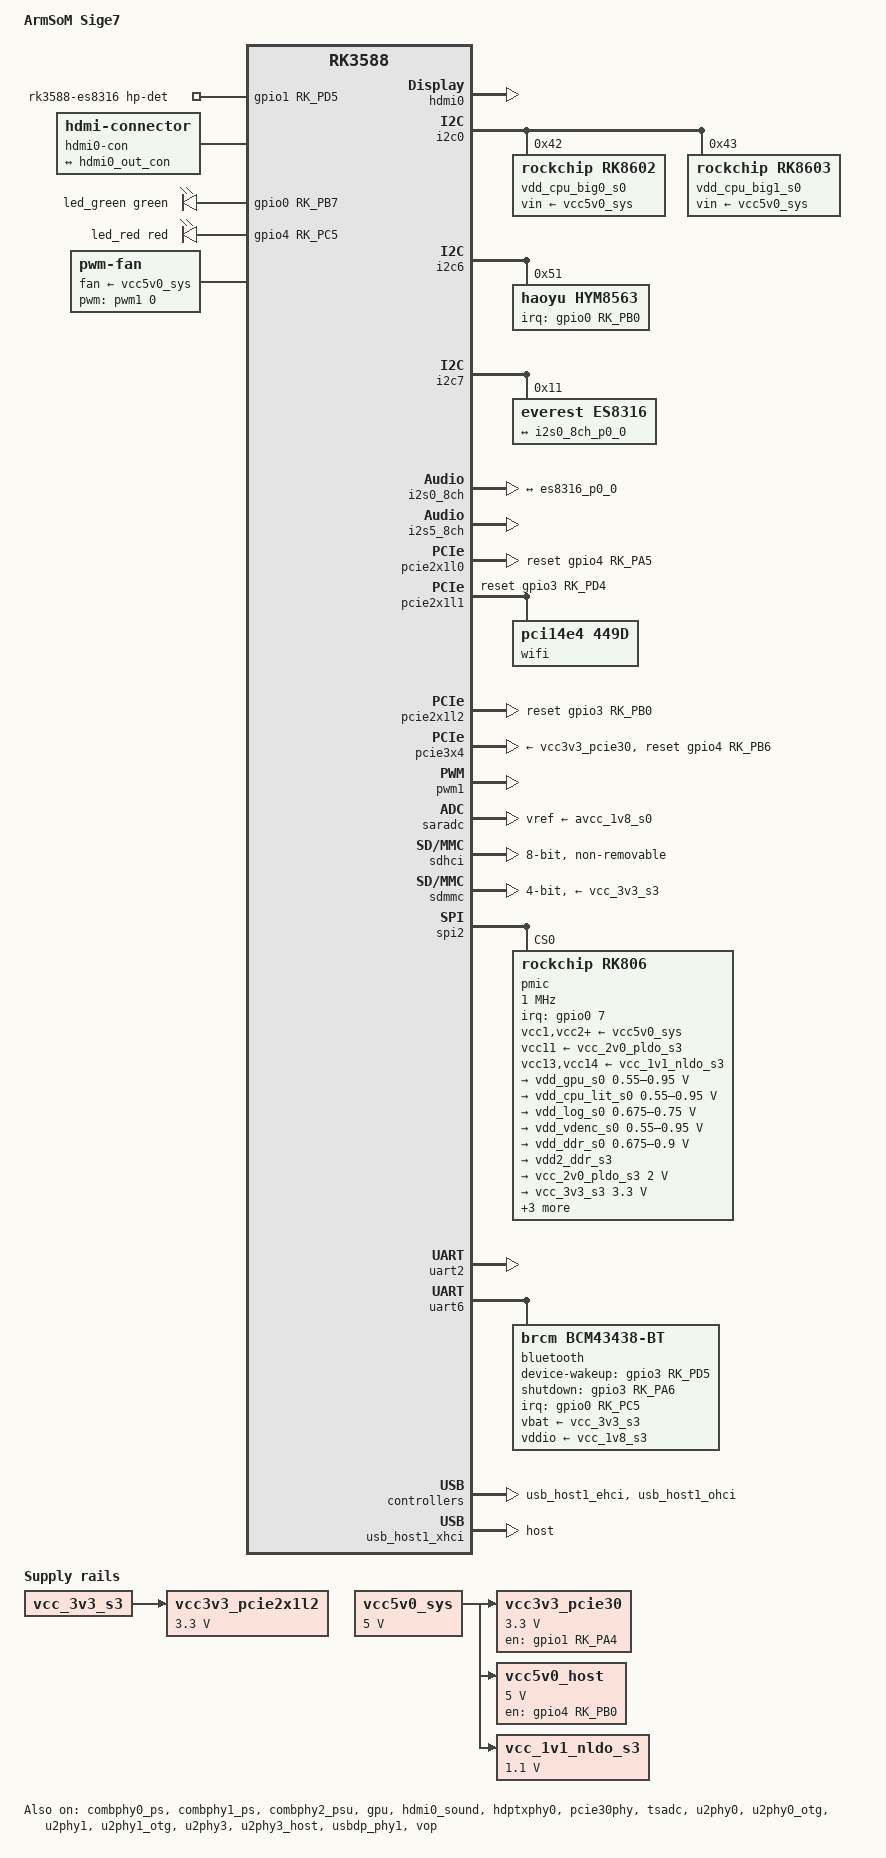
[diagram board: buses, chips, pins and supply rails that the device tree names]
// SPDX-License-Identifier: (GPL-2.0+ OR MIT)

/dts-v1/;

#include <dt-bindings/gpio/gpio.h>
#include <dt-bindings/leds/common.h>
#include <dt-bindings/soc/rockchip,vop2.h>
#include "rk3588.dtsi"

/ {
	model = "ArmSoM Sige7";
	compatible = "armsom,sige7", "rockchip,rk3588";

	aliases {
		mmc0 = &sdhci;
		mmc1 = &sdmmc;
	};

	chosen {
		stdout-path = "serial2:1500000n8";
	};

	analog-sound {
		compatible = "audio-graph-card";
		dais = <&i2s0_8ch_p0>;
		label = "rk3588-es8316";
		hp-det-gpios = <&gpio1 RK_PD5 GPIO_ACTIVE_HIGH>;
		pinctrl-names = "default";
		pinctrl-0 = <&hp_detect>;
		routing = "MIC2", "Mic Jack",
			  "Headphones", "HPOL",
			  "Headphones", "HPOR";
		widgets = "Microphone", "Mic Jack",
			  "Headphone", "Headphones";
	};

	hdmi0-con {
		compatible = "hdmi-connector";
		type = "a";

		port {
			hdmi0_con_in: endpoint {
				remote-endpoint = <&hdmi0_out_con>;
			};
		};
	};

	leds {
		compatible = "gpio-leds";
		pinctrl-names = "default";
		pinctrl-0 = <&led_rgb_g>;

		led_green: led-0 {
			color = <LED_COLOR_ID_GREEN>;
			function = LED_FUNCTION_STATUS;
			gpios = <&gpio0 RK_PB7 GPIO_ACTIVE_HIGH>;
			linux,default-trigger = "heartbeat";
		};

		led_red: led-1 {
			color = <LED_COLOR_ID_RED>;
			function = LED_FUNCTION_STATUS;
			gpios = <&gpio4 RK_PC5 GPIO_ACTIVE_HIGH>;
			linux,default-trigger = "none";
		};
	};

	fan: pwm-fan {
		compatible = "pwm-fan";
		cooling-levels = <0 95 145 195 255>;
		fan-supply = <&vcc5v0_sys>;
		pwms = <&pwm1 0 50000 0>;
		#cooling-cells = <2>;
	};

	vcc3v3_pcie2x1l2: regulator-vcc3v3-pcie2x1l2 {
		compatible = "regulator-fixed";
		regulator-name = "vcc3v3_pcie2x1l2";
		regulator-min-microvolt = <3300000>;
		regulator-max-microvolt = <3300000>;
		startup-delay-us = <5000>;
		vin-supply = <&vcc_3v3_s3>;
	};

	vcc3v3_pcie30: regulator-vcc3v3-pcie30 {
		compatible = "regulator-fixed";
		enable-active-high;
		gpios = <&gpio1 RK_PA4 GPIO_ACTIVE_HIGH>;
		regulator-name = "vcc3v3_pcie30";
		regulator-min-microvolt = <3300000>;
		regulator-max-microvolt = <3300000>;
		startup-delay-us = <5000>;
		vin-supply = <&vcc5v0_sys>;
	};

	vcc5v0_host: regulator-vcc5v0-host {
		compatible = "regulator-fixed";
		regulator-name = "vcc5v0_host";
		regulator-boot-on;
		regulator-always-on;
		regulator-min-microvolt = <5000000>;
		regulator-max-microvolt = <5000000>;
		enable-active-high;
		gpio = <&gpio4 RK_PB0 GPIO_ACTIVE_HIGH>;
		pinctrl-names = "default";
		pinctrl-0 = <&vcc5v0_host_en>;
		vin-supply = <&vcc5v0_sys>;
	};

	vcc5v0_sys: regulator-vcc5v0-sys {
		compatible = "regulator-fixed";
		regulator-name = "vcc5v0_sys";
		regulator-always-on;
		regulator-boot-on;
		regulator-min-microvolt = <5000000>;
		regulator-max-microvolt = <5000000>;
	};

	vcc_1v1_nldo_s3: regulator-vcc-1v1-nldo-s3 {
		compatible = "regulator-fixed";
		regulator-name = "vcc_1v1_nldo_s3";
		regulator-always-on;
		regulator-boot-on;
		regulator-min-microvolt = <1100000>;
		regulator-max-microvolt = <1100000>;
		vin-supply = <&vcc5v0_sys>;
	};
};

&combphy0_ps {
	status = "okay";
};

&combphy1_ps {
	status = "okay";
};

&combphy2_psu {
	status = "okay";
};

&cpu_b0 {
	cpu-supply = <&vdd_cpu_big0_s0>;
};

&cpu_b1 {
	cpu-supply = <&vdd_cpu_big0_s0>;
};

&cpu_b2 {
	cpu-supply = <&vdd_cpu_big1_s0>;
};

&cpu_b3 {
	cpu-supply = <&vdd_cpu_big1_s0>;
};

&cpu_l0 {
	cpu-supply = <&vdd_cpu_lit_s0>;
};

&cpu_l1 {
	cpu-supply = <&vdd_cpu_lit_s0>;
};

&cpu_l2 {
	cpu-supply = <&vdd_cpu_lit_s0>;
};

&cpu_l3 {
	cpu-supply = <&vdd_cpu_lit_s0>;
};

&gpu {
	mali-supply = <&vdd_gpu_s0>;
	status = "okay";
};

&hdmi0 {
	status = "okay";
};

&hdmi0_in {
	hdmi0_in_vp0: endpoint {
		remote-endpoint = <&vp0_out_hdmi0>;
	};
};

&hdmi0_out {
	hdmi0_out_con: endpoint {
		remote-endpoint = <&hdmi0_con_in>;
	};
};

&hdmi0_sound {
	status = "okay";
};

&hdptxphy0 {
	status = "okay";
};

&i2c0 {
	pinctrl-names = "default";
	pinctrl-0 = <&i2c0m2_xfer>;
	status = "okay";

	vdd_cpu_big0_s0: regulator@42 {
		compatible = "rockchip,rk8602";
		reg = <0x42>;
		fcs,suspend-voltage-selector = <1>;
		regulator-name = "vdd_cpu_big0_s0";
		regulator-always-on;
		regulator-boot-on;
		regulator-min-microvolt = <550000>;
		regulator-max-microvolt = <1050000>;
		regulator-ramp-delay = <2300>;
		vin-supply = <&vcc5v0_sys>;

		regulator-state-mem {
			regulator-off-in-suspend;
		};
	};

	vdd_cpu_big1_s0: regulator@43 {
		compatible = "rockchip,rk8603", "rockchip,rk8602";
		reg = <0x43>;
		fcs,suspend-voltage-selector = <1>;
		regulator-name = "vdd_cpu_big1_s0";
		regulator-always-on;
		regulator-boot-on;
		regulator-min-microvolt = <550000>;
		regulator-max-microvolt = <1050000>;
		regulator-ramp-delay = <2300>;
		vin-supply = <&vcc5v0_sys>;

		regulator-state-mem {
			regulator-off-in-suspend;
		};
	};
};

&i2c6 {
	status = "okay";

	hym8563: rtc@51 {
		compatible = "haoyu,hym8563";
		reg = <0x51>;
		interrupt-parent = <&gpio0>;
		interrupts = <RK_PB0 IRQ_TYPE_LEVEL_LOW>;
		#clock-cells = <0>;
		clock-output-names = "hym8563";
		pinctrl-names = "default";
		pinctrl-0 = <&hym8563_int>;
		wakeup-source;
	};
};

&i2c7 {
	status = "okay";

	es8316: audio-codec@11 {
		compatible = "everest,es8316";
		reg = <0x11>;
		assigned-clocks = <&cru I2S0_8CH_MCLKOUT>;
		assigned-clock-rates = <12288000>;
		clocks = <&cru I2S0_8CH_MCLKOUT>;
		clock-names = "mclk";
		#sound-dai-cells = <0>;

		port {
			es8316_p0_0: endpoint {
				remote-endpoint = <&i2s0_8ch_p0_0>;
			};
		};
	};
};

&i2s0_8ch {
	pinctrl-names = "default";
	pinctrl-0 = <&i2s0_lrck
		     &i2s0_mclk
		     &i2s0_sclk
		     &i2s0_sdi0
		     &i2s0_sdo0>;
	status = "okay";

	i2s0_8ch_p0: port {
		i2s0_8ch_p0_0: endpoint {
			dai-format = "i2s";
			mclk-fs = <256>;
			remote-endpoint = <&es8316_p0_0>;
		};
	};
};

&i2s5_8ch {
	status = "okay";
};

/* phy1 - right ethernet port */
&pcie2x1l0 {
	reset-gpios = <&gpio4 RK_PA5 GPIO_ACTIVE_HIGH>;
	status = "okay";
};

/* phy2 - WiFi */
&pcie2x1l1 {
	reset-gpios = <&gpio3 RK_PD4 GPIO_ACTIVE_HIGH>;
	status = "okay";

	pcie@0,0 {
		reg = <0x300000 0 0 0 0>;
		#address-cells = <3>;
		#size-cells = <2>;
		ranges;
		device_type = "pci";
		bus-range = <0x30 0x3f>;

		wifi: wifi@0,0 {
			compatible = "pci14e4,449d";
			reg = <0x310000 0 0 0 0>;
			clocks = <&hym8563>;
			clock-names = "lpo";
		};
	};
};

/* phy0 - left ethernet port */
&pcie2x1l2 {
	reset-gpios = <&gpio3 RK_PB0 GPIO_ACTIVE_HIGH>;
	status = "okay";
};

&pcie30phy {
	status = "okay";
};

&pcie3x4 {
	reset-gpios = <&gpio4 RK_PB6 GPIO_ACTIVE_HIGH>;
	vpcie3v3-supply = <&vcc3v3_pcie30>;
	status = "okay";
};

&pd_gpu {
	domain-supply = <&vdd_gpu_s0>;
};

&pinctrl {
	hym8563 {
		hym8563_int: hym8563-int {
			rockchip,pins = <0 RK_PB0 RK_FUNC_GPIO &pcfg_pull_none>;
		};
	};

	leds {
		led_rgb_g: led-rgb-g {
			rockchip,pins = <0 RK_PB7 RK_FUNC_GPIO &pcfg_pull_none>;
		};
		led_rgb_r: led-rgb-r {
			rockchip,pins = <0 RK_PB7 RK_FUNC_GPIO &pcfg_pull_none>;
		};
	};

	sound {
		hp_detect: hp-detect {
			rockchip,pins = <1 RK_PD5 RK_FUNC_GPIO &pcfg_pull_none>;
		};
	};

	usb {
		vcc5v0_host_en: vcc5v0-host-en {
			rockchip,pins = <4 RK_PB0 RK_FUNC_GPIO &pcfg_pull_none>;
		};
	};

	wireless-bluetooth {
		bt_reset_pin: bt-reset-pin {
			rockchip,pins = <3 RK_PA6 RK_FUNC_GPIO &pcfg_pull_none>;
		};

		bt_wake_pin: bt-wake-pin {
			rockchip,pins = <3 RK_PD5 RK_FUNC_GPIO &pcfg_pull_up>;
		};

		bt_wake_host_irq: bt-wake-host-irq {
			rockchip,pins = <0 RK_PC5 RK_FUNC_GPIO &pcfg_pull_down>;
		};
	};
};

&pwm1 {
	status = "okay";
};

&saradc {
	vref-supply = <&avcc_1v8_s0>;
	status = "okay";
};

&sdhci {
	bus-width = <8>;
	no-sdio;
	no-sd;
	non-removable;
	mmc-hs200-1_8v;
	status = "okay";
};

&sdmmc {
	bus-width = <4>;
	cap-mmc-highspeed;
	cap-sd-highspeed;
	disable-wp;
	max-frequency = <200000000>;
	no-sdio;
	no-mmc;
	sd-uhs-sdr104;
	vmmc-supply = <&vcc_3v3_s3>;
	vqmmc-supply = <&vccio_sd_s0>;
	status = "okay";
};

&spi2 {
	assigned-clocks = <&cru CLK_SPI2>;
	assigned-clock-rates = <200000000>;
	num-cs = <1>;
	pinctrl-names = "default";
	pinctrl-0 = <&spi2m2_cs0 &spi2m2_pins>;
	status = "okay";

	pmic@0 {
		compatible = "rockchip,rk806";
		spi-max-frequency = <1000000>;
		reg = <0x0>;

		interrupt-parent = <&gpio0>;
		interrupts = <7 IRQ_TYPE_LEVEL_LOW>;

		gpio-controller;
		#gpio-cells = <2>;

		pinctrl-names = "default";
		pinctrl-0 = <&pmic_pins>, <&rk806_dvs1_null>,
			    <&rk806_dvs2_null>, <&rk806_dvs3_null>;

		system-power-controller;

		vcc1-supply = <&vcc5v0_sys>;
		vcc2-supply = <&vcc5v0_sys>;
		vcc3-supply = <&vcc5v0_sys>;
		vcc4-supply = <&vcc5v0_sys>;
		vcc5-supply = <&vcc5v0_sys>;
		vcc6-supply = <&vcc5v0_sys>;
		vcc7-supply = <&vcc5v0_sys>;
		vcc8-supply = <&vcc5v0_sys>;
		vcc9-supply = <&vcc5v0_sys>;
		vcc10-supply = <&vcc5v0_sys>;
		vcc11-supply = <&vcc_2v0_pldo_s3>;
		vcc12-supply = <&vcc5v0_sys>;
		vcc13-supply = <&vcc_1v1_nldo_s3>;
		vcc14-supply = <&vcc_1v1_nldo_s3>;
		vcca-supply = <&vcc5v0_sys>;

		rk806_dvs1_null: dvs1-null-pins {
			pins = "gpio_pwrctrl1";
			function = "pin_fun0";
		};

		rk806_dvs2_null: dvs2-null-pins {
			pins = "gpio_pwrctrl2";
			function = "pin_fun0";
		};

		rk806_dvs3_null: dvs3-null-pins {
			pins = "gpio_pwrctrl3";
			function = "pin_fun0";
		};

		regulators {
			vdd_gpu_s0: vdd_gpu_mem_s0: dcdc-reg1 {
				regulator-always-on;
				regulator-boot-on;
				regulator-min-microvolt = <550000>;
				regulator-max-microvolt = <950000>;
				regulator-ramp-delay = <12500>;
				regulator-name = "vdd_gpu_s0";
				regulator-enable-ramp-delay = <400>;

				regulator-state-mem {
					regulator-off-in-suspend;
				};
			};

			vdd_cpu_lit_s0: vdd_cpu_lit_mem_s0: dcdc-reg2 {
				regulator-always-on;
				regulator-boot-on;
				regulator-min-microvolt = <550000>;
				regulator-max-microvolt = <950000>;
				regulator-ramp-delay = <12500>;
				regulator-name = "vdd_cpu_lit_s0";

				regulator-state-mem {
					regulator-off-in-suspend;
				};
			};

			vdd_log_s0: dcdc-reg3 {
				regulator-always-on;
				regulator-boot-on;
				regulator-min-microvolt = <675000>;
				regulator-max-microvolt = <750000>;
				regulator-ramp-delay = <12500>;
				regulator-name = "vdd_log_s0";

				regulator-state-mem {
					regulator-off-in-suspend;
					regulator-suspend-microvolt = <750000>;
				};
			};

			vdd_vdenc_s0: vdd_vdenc_mem_s0: dcdc-reg4 {
				regulator-always-on;
				regulator-boot-on;
				regulator-min-microvolt = <550000>;
				regulator-max-microvolt = <950000>;
				regulator-ramp-delay = <12500>;
				regulator-name = "vdd_vdenc_s0";

				regulator-state-mem {
					regulator-off-in-suspend;
				};
			};

			vdd_ddr_s0: dcdc-reg5 {
				regulator-always-on;
				regulator-boot-on;
				regulator-min-microvolt = <675000>;
				regulator-max-microvolt = <900000>;
				regulator-ramp-delay = <12500>;
				regulator-name = "vdd_ddr_s0";

				regulator-state-mem {
					regulator-off-in-suspend;
					regulator-suspend-microvolt = <850000>;
				};
			};

			vdd2_ddr_s3: dcdc-reg6 {
				regulator-always-on;
				regulator-boot-on;
				regulator-name = "vdd2_ddr_s3";

				regulator-state-mem {
					regulator-on-in-suspend;
				};
			};

			vcc_2v0_pldo_s3: dcdc-reg7 {
				regulator-always-on;
				regulator-boot-on;
				regulator-min-microvolt = <2000000>;
				regulator-max-microvolt = <2000000>;
				regulator-ramp-delay = <12500>;
				regulator-name = "vdd_2v0_pldo_s3";

				regulator-state-mem {
					regulator-on-in-suspend;
					regulator-suspend-microvolt = <2000000>;
				};
			};

			vcc_3v3_s3: dcdc-reg8 {
				regulator-always-on;
				regulator-boot-on;
				regulator-min-microvolt = <3300000>;
				regulator-max-microvolt = <3300000>;
				regulator-name = "vcc_3v3_s3";

				regulator-state-mem {
					regulator-on-in-suspend;
					regulator-suspend-microvolt = <3300000>;
				};
			};

			vddq_ddr_s0: dcdc-reg9 {
				regulator-always-on;
				regulator-boot-on;
				regulator-name = "vddq_ddr_s0";

				regulator-state-mem {
					regulator-off-in-suspend;
				};
			};

			vcc_1v8_s3: dcdc-reg10 {
				regulator-always-on;
				regulator-boot-on;
				regulator-min-microvolt = <1800000>;
				regulator-max-microvolt = <1800000>;
				regulator-name = "vcc_1v8_s3";

				regulator-state-mem {
					regulator-on-in-suspend;
					regulator-suspend-microvolt = <1800000>;
				};
			};

			avcc_1v8_s0: pldo-reg1 {
				regulator-always-on;
				regulator-boot-on;
				regulator-min-microvolt = <1800000>;
				regulator-max-microvolt = <1800000>;
				regulator-name = "avcc_1v8_s0";

				regulator-state-mem {
					regulator-off-in-suspend;
				};
			};

			vcc_1v8_s0: pldo-reg2 {
				regulator-always-on;
				regulator-boot-on;
				regulator-min-microvolt = <1800000>;
				regulator-max-microvolt = <1800000>;
				regulator-name = "vcc_1v8_s0";

				regulator-state-mem {
					regulator-off-in-suspend;
					regulator-suspend-microvolt = <1800000>;
				};
			};

			avdd_1v2_s0: pldo-reg3 {
				regulator-always-on;
				regulator-boot-on;
				regulator-min-microvolt = <1200000>;
				regulator-max-microvolt = <1200000>;
				regulator-name = "avdd_1v2_s0";

				regulator-state-mem {
					regulator-off-in-suspend;
				};
			};

			vcc_3v3_s0: pldo-reg4 {
				regulator-always-on;
				regulator-boot-on;
				regulator-min-microvolt = <3300000>;
				regulator-max-microvolt = <3300000>;
				regulator-ramp-delay = <12500>;
				regulator-name = "vcc_3v3_s0";

				regulator-state-mem {
					regulator-off-in-suspend;
				};
			};

			vccio_sd_s0: pldo-reg5 {
				regulator-always-on;
				regulator-boot-on;
				regulator-min-microvolt = <1800000>;
				regulator-max-microvolt = <3300000>;
				regulator-ramp-delay = <12500>;
				regulator-name = "vccio_sd_s0";

				regulator-state-mem {
					regulator-off-in-suspend;
				};
			};

			pldo6_s3: pldo-reg6 {
				regulator-always-on;
				regulator-boot-on;
				regulator-min-microvolt = <1800000>;
				regulator-max-microvolt = <1800000>;
				regulator-name = "pldo6_s3";

				regulator-state-mem {
					regulator-on-in-suspend;
					regulator-suspend-microvolt = <1800000>;
				};
			};

			vdd_0v75_s3: nldo-reg1 {
				regulator-always-on;
				regulator-boot-on;
				regulator-min-microvolt = <750000>;
				regulator-max-microvolt = <750000>;
				regulator-name = "vdd_0v75_s3";

				regulator-state-mem {
					regulator-on-in-suspend;
					regulator-suspend-microvolt = <750000>;
				};
			};

			vdd_ddr_pll_s0: nldo-reg2 {
				regulator-always-on;
				regulator-boot-on;
				regulator-min-microvolt = <850000>;
				regulator-max-microvolt = <850000>;
				regulator-name = "vdd_ddr_pll_s0";

				regulator-state-mem {
					regulator-off-in-suspend;
					regulator-suspend-microvolt = <850000>;
				};
			};

			avdd_0v75_s0: nldo-reg3 {
				regulator-always-on;
				regulator-boot-on;
				regulator-min-microvolt = <750000>;
				regulator-max-microvolt = <750000>;
				regulator-name = "avdd_0v75_s0";

				regulator-state-mem {
					regulator-off-in-suspend;
				};
			};

			vdd_0v85_s0: nldo-reg4 {
				regulator-always-on;
				regulator-boot-on;
				regulator-min-microvolt = <850000>;
				regulator-max-microvolt = <850000>;
				regulator-name = "vdd_0v85_s0";

				regulator-state-mem {
					regulator-off-in-suspend;
				};
			};

			vdd_0v75_s0: nldo-reg5 {
				regulator-always-on;
				regulator-boot-on;
				regulator-min-microvolt = <750000>;
				regulator-max-microvolt = <750000>;
				regulator-name = "vdd_0v75_s0";

				regulator-state-mem {
					regulator-off-in-suspend;
				};
			};
		};
	};
};

&tsadc {
	status = "okay";
};

&u2phy0 {
	status = "okay";
};

&u2phy0_otg {
	status = "okay";
};

&u2phy1 {
	status = "okay";
};

&u2phy1_otg {
	status = "okay";
};

&u2phy3 {
	status = "okay";
};

&u2phy3_host {
	phy-supply = <&vcc5v0_host>;
	status = "okay";
};

&uart2 {
	pinctrl-0 = <&uart2m0_xfer>;
	status = "okay";
};

&uart6 {
	pinctrl-names = "default";
	pinctrl-0 = <&uart6m1_xfer &uart6m1_ctsn &uart6m1_rtsn>;
	status = "okay";

	bluetooth {
		compatible = "brcm,bcm43438-bt";
		clocks = <&hym8563>;
		clock-names = "lpo";
		interrupt-parent = <&gpio0>;
		interrupts = <RK_PC5 IRQ_TYPE_LEVEL_HIGH>;
		interrupt-names = "host-wakeup";
		device-wakeup-gpios = <&gpio3 RK_PD5 GPIO_ACTIVE_HIGH>;
		shutdown-gpios = <&gpio3 RK_PA6 GPIO_ACTIVE_HIGH>;
		max-speed = <1500000>;
		pinctrl-names = "default";
		pinctrl-0 = <&bt_wake_host_irq &bt_wake_pin &bt_reset_pin>;
		vbat-supply = <&vcc_3v3_s3>;
		vddio-supply = <&vcc_1v8_s3>;
	};
};

&usbdp_phy1 {
	status = "okay";
};

&usb_host1_ehci {
	status = "okay";
};

&usb_host1_ohci {
	status = "okay";
};

&usb_host1_xhci {
	dr_mode = "host";
	status = "okay";
};

&vop_mmu {
	status = "okay";
};

&vop {
	status = "okay";
};

&vp0 {
	vp0_out_hdmi0: endpoint@ROCKCHIP_VOP2_EP_HDMI0 {
		reg = <ROCKCHIP_VOP2_EP_HDMI0>;
		remote-endpoint = <&hdmi0_in_vp0>;
	};
};
